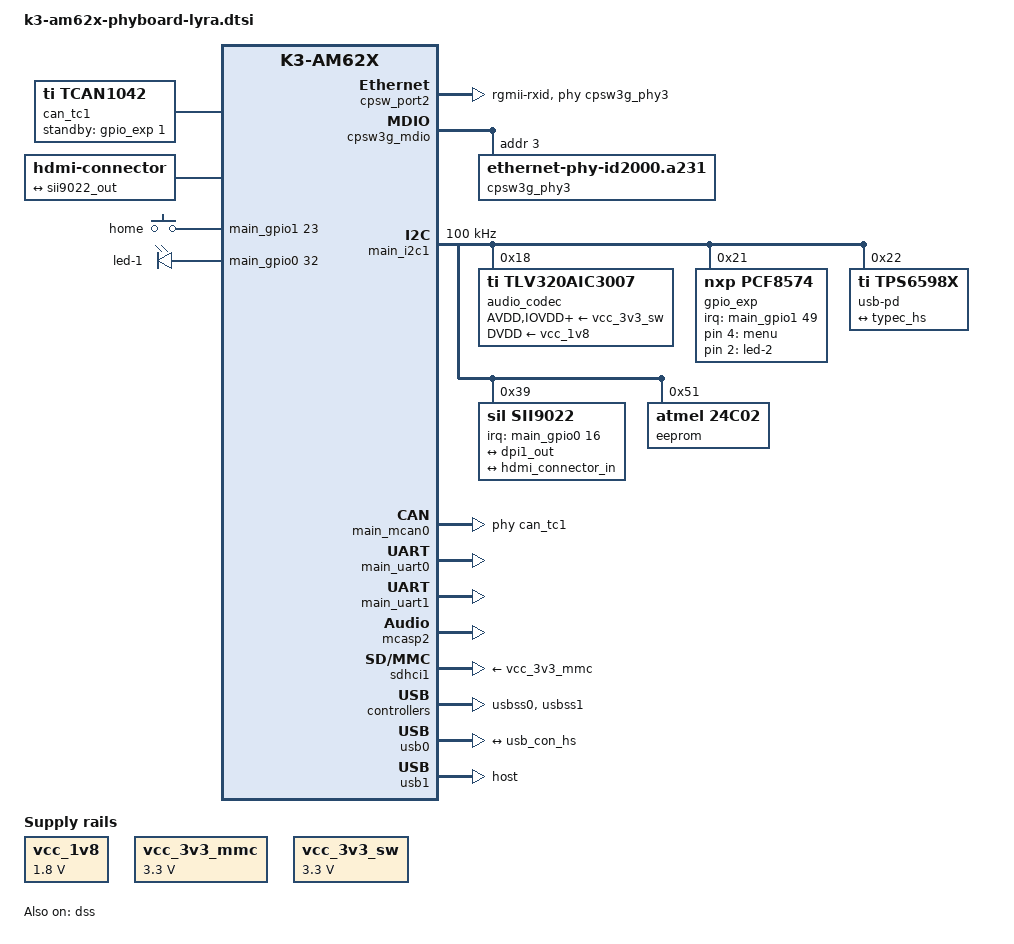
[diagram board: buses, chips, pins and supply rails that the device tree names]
// SPDX-License-Identifier: GPL-2.0-only OR MIT
/*
 * Copyright (C) 2022-2024 PHYTEC Messtechnik GmbH
 * Author: Wadim Egorov <w.egorov@phytec.de>
 *
 */

#include <dt-bindings/gpio/gpio.h>
#include <dt-bindings/input/input.h>
#include <dt-bindings/leds/common.h>
#include <dt-bindings/net/ti-dp83867.h>

/ {
	aliases {
		serial2 = &main_uart0;
		serial3 = &main_uart1;
		mmc1 = &sdhci1;
		usb0 = &usb0;
		usb1 = &usb1;
		ethernet1 = &cpsw_port2;
	};

	can_tc1: can-phy0 {
		compatible = "ti,tcan1042";
		#phy-cells = <0>;
		max-bitrate = <8000000>;
		standby-gpios = <&gpio_exp 1 GPIO_ACTIVE_HIGH>;
	};

	hdmi0: connector-hdmi {
		compatible = "hdmi-connector";
		label = "hdmi";
		type = "a";

		port {
			hdmi_connector_in: endpoint {
				remote-endpoint = <&sii9022_out>;
			};
		};
	};

	keys {
		compatible = "gpio-keys";
		autorepeat;
		pinctrl-names = "default";
		pinctrl-0 = <&gpio_keys_pins_default>;

		key-home {
			label = "home";
			linux,code = <KEY_HOME>;
			gpios = <&main_gpio1 23 GPIO_ACTIVE_HIGH>;
		};

		key-menu {
			label = "menu";
			linux,code = <KEY_MENU>;
			gpios = <&gpio_exp 4 GPIO_ACTIVE_HIGH>;
		};
	};

	sound {
		compatible = "simple-audio-card";
		simple-audio-card,name = "phyBOARD-Lyra";
		simple-audio-card,widgets =
			"Microphone",           "Mic Jack",
			"Headphone",            "Headphone Jack",
			"Speaker",              "External Speaker";
		simple-audio-card,routing =
			"MIC3R",                "Mic Jack",
			"Mic Jack",             "Mic Bias",
			"Headphone Jack",       "HPLOUT",
			"Headphone Jack",       "HPROUT",
			"External Speaker",     "SPOP",
			"External Speaker",     "SPOM";
		simple-audio-card,format = "dsp_b";
		simple-audio-card,bitclock-master = <&sound_master>;
		simple-audio-card,frame-master = <&sound_master>;
		simple-audio-card,bitclock-inversion;

		simple-audio-card,cpu {
			sound-dai = <&mcasp2>;
		};

		sound_master: simple-audio-card,codec {
			sound-dai = <&audio_codec>;
			clocks = <&audio_refclk1>;
		};
	};

	leds {
		compatible = "gpio-leds";
		pinctrl-names = "default";
		pinctrl-0 = <&leds_pins_default>, <&user_leds_pins_default>;

		led-1 {
			gpios = <&main_gpio0 32 GPIO_ACTIVE_HIGH>;
			linux,default-trigger = "mmc0";
		};

		led-2 {
			gpios = <&gpio_exp 2 GPIO_ACTIVE_HIGH>;
			linux,default-trigger = "mmc1";
		};
	};

	vcc_1v8: regulator-vcc-1v8 {
		compatible = "regulator-fixed";
		regulator-name = "VCC_1V8";
		regulator-min-microvolt = <1800000>;
		regulator-max-microvolt = <1800000>;
		regulator-always-on;
		regulator-boot-on;
	};

	vcc_3v3_mmc: regulator-vcc-3v3-mmc {
		compatible = "regulator-fixed";
		regulator-name = "VCC_3V3_MMC";
		regulator-min-microvolt = <3300000>;
		regulator-max-microvolt = <3300000>;
		regulator-always-on;
		regulator-boot-on;
	};

	vcc_3v3_sw: regulator-vcc-3v3-sw {
		compatible = "regulator-fixed";
		regulator-name = "VCC_3V3_SW";
		regulator-min-microvolt = <3300000>;
		regulator-max-microvolt = <3300000>;
		regulator-always-on;
		regulator-boot-on;
	};
};

&main_pmx0 {
	audio_ext_refclk1_pins_default: audio-ext-refclk1-default-pins {
		pinctrl-single,pins = <
			AM62X_IOPAD(0x0a0, PIN_OUTPUT, 1) /* (K25) GPMC0_WPn.AUDIO_EXT_REFCLK1 */
		>;
	};

	gpio_keys_pins_default: gpio-keys-default-pins {
		pinctrl-single,pins = <
			AM62X_IOPAD(0x1d4, PIN_INPUT, 7) /* (B15) UART0_RTSn.GPIO1_23 */
		>;
	};

	gpio_exp_int_pins_default: gpio-exp-int-default-pins {
		pinctrl-single,pins = <
			AM62X_IOPAD(0x244, PIN_INPUT, 7) /* (C17) MMC1_SDWP.GPIO1_49 */
		>;
	};

	hdmi_int_pins_default: hdmi-int-default-pins {
		pinctrl-single,pins = <
			AM62X_IOPAD(0x040, PIN_INPUT, 7) /* (N23) GPMC0_AD1.GPIO0_16 */
		>;
	};

	main_dss0_pins_default: main-dss0-default-pins {
		pinctrl-single,pins = <
			AM62X_IOPAD(0x0b8, PIN_OUTPUT, 0) /* (U22) VOUT0_DATA0 */
			AM62X_IOPAD(0x0bc, PIN_OUTPUT, 0) /* (V24) VOUT0_DATA1 */
			AM62X_IOPAD(0x0e0, PIN_OUTPUT, 0) /* (V20) VOUT0_DATA10 */
			AM62X_IOPAD(0x0e4, PIN_OUTPUT, 0) /* (AA23) VOUT0_DATA11 */
			AM62X_IOPAD(0x0e8, PIN_OUTPUT, 0) /* (AB25) VOUT0_DATA12 */
			AM62X_IOPAD(0x0ec, PIN_OUTPUT, 0) /* (AA24) VOUT0_DATA13 */
			AM62X_IOPAD(0x0f0, PIN_OUTPUT, 0) /* (Y22) VOUT0_DATA14 */
			AM62X_IOPAD(0x0f4, PIN_OUTPUT, 0) /* (AA21) VOUT0_DATA15 */
			AM62X_IOPAD(0x0c0, PIN_OUTPUT, 0) /* (W25) VOUT0_DATA2 */
			AM62X_IOPAD(0x0c4, PIN_OUTPUT, 0) /* (W24) VOUT0_DATA3 */
			AM62X_IOPAD(0x0c8, PIN_OUTPUT, 0) /* (Y25) VOUT0_DATA4 */
			AM62X_IOPAD(0x0cc, PIN_OUTPUT, 0) /* (Y24) VOUT0_DATA5 */
			AM62X_IOPAD(0x0d0, PIN_OUTPUT, 0) /* (Y23) VOUT0_DATA6 */
			AM62X_IOPAD(0x0d4, PIN_OUTPUT, 0) /* (AA25) VOUT0_DATA7 */
			AM62X_IOPAD(0x0d8, PIN_OUTPUT, 0) /* (V21) VOUT0_DATA8 */
			AM62X_IOPAD(0x0dc, PIN_OUTPUT, 0) /* (W21) VOUT0_DATA9 */
			AM62X_IOPAD(0x0fc, PIN_OUTPUT, 0) /* (Y20) VOUT0_DE */
			AM62X_IOPAD(0x0f8, PIN_OUTPUT, 0) /* (AB24) VOUT0_HSYNC */
			AM62X_IOPAD(0x104, PIN_OUTPUT, 0) /* (AC24) VOUT0_PCLK */
			AM62X_IOPAD(0x100, PIN_OUTPUT, 0) /* (AC25) VOUT0_VSYNC */
		>;
	};

	main_i2c1_pins_default: main-i2c1-default-pins {
		pinctrl-single,pins = <
			AM62X_IOPAD(0x1e8, PIN_INPUT_PULLUP, 0) /* (B17) I2C1_SCL */
			AM62X_IOPAD(0x1ec, PIN_INPUT_PULLUP, 0) /* (A17) I2C1_SDA */
		>;
	};

	main_mcan0_pins_default: main-mcan0-default-pins {
		pinctrl-single,pins = <
			AM62X_IOPAD(0x1dc, PIN_INPUT, 0) /* (E15) MCAN0_RX */
			AM62X_IOPAD(0x1d8, PIN_OUTPUT, 0) /* (C15) MCAN0_TX */
		>;
	};

	main_mcasp2_pins_default: main-mcasp2-default-pins {
		pinctrl-single,pins = <
			AM62X_IOPAD(0x070, PIN_INPUT, 3) /* (T24) GPMC0_AD13.MCASP2_ACLKX */
			AM62X_IOPAD(0x06c, PIN_INPUT, 3) /* (T22) GPMC0_AD12.MCASP2_AFSX */
			AM62X_IOPAD(0x064, PIN_OUTPUT, 3) /* (T25) GPMC0_AD10.MCASP2_AXR2 */
			AM62X_IOPAD(0x068, PIN_INPUT, 3) /* (R21) GPMC0_AD11.MCASP2_AXR3 */
		>;
	};

	main_mmc1_pins_default: main-mmc1-default-pins {
		pinctrl-single,pins = <
			AM62X_IOPAD(0x23c, PIN_INPUT_PULLUP, 0) /* (A21) MMC1_CMD */
			AM62X_IOPAD(0x234, PIN_INPUT_PULLDOWN, 0) /* (B22) MMC1_CLK */
			AM62X_IOPAD(0x230, PIN_INPUT_PULLUP, 0) /* (A22) MMC1_DAT0 */
			AM62X_IOPAD(0x22c, PIN_INPUT_PULLUP, 0) /* (B21) MMC1_DAT1 */
			AM62X_IOPAD(0x228, PIN_INPUT_PULLUP, 0) /* (C21) MMC1_DAT2 */
			AM62X_IOPAD(0x224, PIN_INPUT_PULLUP, 0) /* (D22) MMC1_DAT3 */
			AM62X_IOPAD(0x240, PIN_INPUT_PULLUP, 0) /* (D17) MMC1_SDCD */
		>;
	};

	main_rgmii2_pins_default: main-rgmii2-default-pins {
		pinctrl-single,pins = <
			AM62X_IOPAD(0x184, PIN_INPUT, 0) /* (AE23) RGMII2_RD0 */
			AM62X_IOPAD(0x188, PIN_INPUT, 0) /* (AB20) RGMII2_RD1 */
			AM62X_IOPAD(0x18c, PIN_INPUT, 0) /* (AC21) RGMII2_RD2 */
			AM62X_IOPAD(0x190, PIN_INPUT, 0) /* (AE22) RGMII2_RD3 */
			AM62X_IOPAD(0x180, PIN_INPUT, 0) /* (AD23) RGMII2_RXC */
			AM62X_IOPAD(0x17c, PIN_INPUT, 0) /* (AD22) RGMII2_RX_CTL */
			AM62X_IOPAD(0x16c, PIN_OUTPUT, 0) /* (Y18) RGMII2_TD0 */
			AM62X_IOPAD(0x170, PIN_OUTPUT, 0) /* (AA18) RGMII2_TD1 */
			AM62X_IOPAD(0x174, PIN_OUTPUT, 0) /* (AD21) RGMII2_TD2 */
			AM62X_IOPAD(0x178, PIN_OUTPUT, 0) /* (AC20) RGMII2_TD3 */
			AM62X_IOPAD(0x168, PIN_OUTPUT, 0) /* (AE21) RGMII2_TXC */
			AM62X_IOPAD(0x164, PIN_OUTPUT, 0) /* (AA19) RGMII2_TX_CTL */
		>;
	};

	main_uart0_pins_default: main-uart0-default-pins {
		pinctrl-single,pins = <
			AM62X_IOPAD(0x1c8, PIN_INPUT, 0) /* (D14) UART0_RXD */
			AM62X_IOPAD(0x1cc, PIN_OUTPUT, 0) /* (E14) UART0_TXD */
		>;
	};

	main_uart1_pins_default: main-uart1-default-pins {
		pinctrl-single,pins = <
			AM62X_IOPAD(0x194, PIN_INPUT, 2) /* (B19) MCASP0_AXR3.UART1_CTSn */
			AM62X_IOPAD(0x198, PIN_OUTPUT, 2) /* (A19) MCASP0_AXR2.UART1_RTSn */
			AM62X_IOPAD(0x1ac, PIN_INPUT, 2) /* (E19) MCASP0_AFSR.UART1_RXD */
			AM62X_IOPAD(0x1b0, PIN_OUTPUT, 2) /* (A20) MCASP0_ACLKR.UART1_TXD */
		>;
	};

	main_usb1_pins_default: main-usb1-default-pins {
		pinctrl-single,pins = <
			AM62X_IOPAD(0x258, PIN_OUTPUT, 0) /* (F18) USB1_DRVVBUS */
		>;
	};

	user_leds_pins_default: user-leds-default-pins {
		pinctrl-single,pins = <
			AM62X_IOPAD(0x084, PIN_OUTPUT, 7) /* (L23) GPMC0_ADVn_ALE.GPIO0_32 */
		>;
	};
};

&cpsw3g {
	pinctrl-names = "default";
	pinctrl-0 = <&main_rgmii1_pins_default>, <&main_rgmii2_pins_default>;
};

&cpsw_port2 {
	phy-mode = "rgmii-rxid";
	phy-handle = <&cpsw3g_phy3>;
};

&cpsw3g_mdio {
	cpsw3g_phy3: ethernet-phy@3 {
		compatible = "ethernet-phy-id2000.a231", "ethernet-phy-ieee802.3-c22";
		reg = <3>;
		ti,clk-output-sel = <DP83867_CLK_O_SEL_OFF>;
		ti,rx-internal-delay = <DP83867_RGMIIDCTL_2_00_NS>;
		ti,fifo-depth = <DP83867_PHYCR_FIFO_DEPTH_4_B_NIB>;
	};
};

&dss {
	pinctrl-names = "default";
	pinctrl-0 = <&main_dss0_pins_default>;
	status = "okay";
};

&dss_ports {
	#address-cells = <1>;
	#size-cells = <0>;

	/* VP2: DPI/HDMI Output */
	port@1 {
		reg = <1>;

		dpi1_out: endpoint {
			remote-endpoint = <&sii9022_in>;
		};
	};
};

&main_i2c1 {
	pinctrl-names = "default";
	pinctrl-0 = <&main_i2c1_pins_default>;
	clock-frequency = <100000>;
	status = "okay";

	audio_codec: audio-codec@18 {
		pinctrl-names = "default";
		pinctrl-0 = <&audio_ext_refclk1_pins_default>;

		#sound-dai-cells = <0>;
		compatible = "ti,tlv320aic3007";
		reg = <0x18>;
		ai3x-micbias-vg = <2>;

		AVDD-supply = <&vcc_3v3_sw>;
		IOVDD-supply = <&vcc_3v3_sw>;
		DRVDD-supply = <&vcc_3v3_sw>;
		DVDD-supply = <&vcc_1v8>;
	};

	gpio_exp: gpio-expander@21 {
		pinctrl-names = "default";
		pinctrl-0 = <&gpio_exp_int_pins_default>;
		compatible = "nxp,pcf8574";
		reg = <0x21>;
		interrupt-parent = <&main_gpio1>;
		interrupts = <49 0>;
		#gpio-cells = <2>;
		gpio-controller;
		interrupt-controller;
		#interrupt-cells = <2>;
		gpio-line-names = "", "GPIO1_CAN0_nEN",
				  "GPIO2_LED2", "GPIO3_LVDS_GPIO",
				  "GPIO4_BUT2", "GPIO5_LVDS_BKLT_EN",
				  "GPIO6_ETH1_USER_RESET", "GPIO7_AUDIO_USER_RESET";
	};

	usb-pd@22 {
		compatible = "ti,tps6598x";
		reg = <0x22>;

		connector {
			compatible = "usb-c-connector";
			label = "USB-C";
			self-powered;
			data-role = "dual";
			power-role = "sink";
			port {
				usb_con_hs: endpoint {
					remote-endpoint = <&typec_hs>;
				};
			};
		};
	};

	sii9022: bridge-hdmi@39 {
		compatible = "sil,sii9022";
		reg = <0x39>;

		interrupt-parent = <&main_gpio0>;
		interrupts = <16 IRQ_TYPE_EDGE_FALLING>;
		pinctrl-names = "default";
		pinctrl-0 = <&hdmi_int_pins_default>;

		ports {
			#address-cells = <1>;
			#size-cells = <0>;

			port@0 {
				reg = <0>;

				sii9022_in: endpoint {
					remote-endpoint = <&dpi1_out>;
				};
			};

			port@1 {
				reg = <1>;

				sii9022_out: endpoint {
					remote-endpoint = <&hdmi_connector_in>;
				};
			};
		};
	};

	eeprom@51 {
		compatible = "atmel,24c02";
		pagesize = <16>;
		reg = <0x51>;
	};
};

&main_mcan0 {
	pinctrl-names = "default";
	pinctrl-0 = <&main_mcan0_pins_default>;
	phys = <&can_tc1>;
	status = "okay";
};

&main_uart0 {
	pinctrl-names = "default";
	pinctrl-0 = <&main_uart0_pins_default>;
	status = "okay";
};

&main_uart1 {
	pinctrl-names = "default";
	pinctrl-0 = <&main_uart1_pins_default>;
	/* Main UART1 may be used by TIFS firmware */
	status = "okay";
};

&mcasp2 {
	#sound-dai-cells = <0>;

	pinctrl-names = "default";
	pinctrl-0 = <&main_mcasp2_pins_default>;

	/* MCASP_IIS_MODE */
	op-mode = <0>;
	tdm-slots = <2>;

	/* 0: INACTIVE, 1: TX, 2: RX */
	serial-dir = <
			0 0 1 2
			0 0 0 0
			0 0 0 0
			0 0 0 0
	>;
	status = "okay";
};

&sdhci1 {
	vmmc-supply = <&vcc_3v3_mmc>;
	vqmmc-supply = <&vddshv5_sdio>;
	pinctrl-names = "default";
	pinctrl-0 = <&main_mmc1_pins_default>;
	disable-wp;
	no-1-8-v;
	status = "okay";
};

&usbss0 {
	ti,vbus-divider;
	status = "okay";
};

&usbss1 {
	ti,vbus-divider;
	status = "okay";
};

&usb0 {
	usb-role-switch;

	port {
		typec_hs: endpoint {
			remote-endpoint = <&usb_con_hs>;
		};
	};
};

&usb1 {
	dr_mode = "host";
	pinctrl-names = "default";
	pinctrl-0 = <&main_usb1_pins_default>;
};
